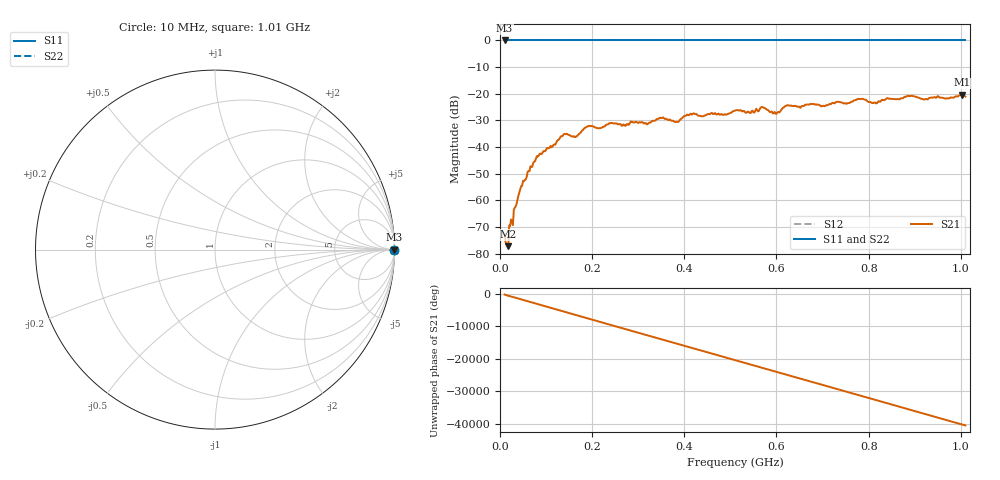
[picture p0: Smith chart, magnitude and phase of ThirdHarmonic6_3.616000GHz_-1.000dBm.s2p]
! 8/17/2025 12:05:37 PM
! C:\ANRITSUVNA\TEMP\TEMP.S2P
! CHANNEL.1
! TR.MEASUREMENT
! RAW.DATA
! RF.CORRECTION.OFF
! AVERAGING.OFF
! IF.BANDWIDTH: 5KHZ
! SWEEPTYPE:  FREQ.SWEEP(Linear)
! Reference Plane Port Info
! PORT:  PORT1  PORT2
! DISTANCE:  0  m  0  m
! TIME:  0  s  0  s
! PHASE.OFFSET:  0  deg.  0  deg.
! LOSS:  0  dB  0  dB
! REF.LOSS:  0  dB  0  dB
! REF.FREQ:  0  Hz  0  Hz
! Power Info
! POWER:  -20  dBm  -20  dBm
! EFF.POWER:  -20  dBm  -20  dBm
! SOURCE.ATTEN:  0  dB  0  dB
! TEST.ATTEN:  0  dB  0  dB
# GHZ S RI R 50.0
! FREQ.GHZ  S11RE  S11IM  S21RE  S21IM  S12RE  S12IM  S22RE  S22IM
!; PortSelection: Port_12
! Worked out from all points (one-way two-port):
!   501 points, 10 MHz to 1.01 GHz, reference 50 ohm
!   highest |S21| = -20.38 dB at 1.002 GHz (marker M1); lowest = -77.2 dB at 18 MHz (marker M2)
!   lowest |S11| = 0.0 dB at 10 MHz (marker M3)
!   |S11| at or under -10 dB: nowhere
!   |S22| runs from 0.0 to 0.0 dB; largest |S21 - S12| = 1.1
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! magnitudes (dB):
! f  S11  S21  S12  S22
! 10 MHz  0.0  -72.7  0.0  0.0
! 14 MHz  0.0  -76.4  0.0  0.0
! 18 MHz  0.0  -77.2  0.0  0.0
! 46 MHz  0.0  -54.6  0.0  0.0
! 76 MHz  0.0  -45.3  0.0  0.0
! 136 MHz  0.0  -35.8  0.0  0.0
! 164 MHz  0.0  -36.2  0.0  0.0
! 178 MHz  0.0  -33.8  0.0  0.0
! 194 MHz  0.0  -32.1  0.0  0.0
! 322 MHz  0.0  -31.0  0.0  0.0
! 344 MHz  0.0  -29.4  0.0  0.0
! 384 MHz  0.0  -30.5  0.0  0.0
! 416 MHz  0.0  -27.8  0.0  0.0
! 510 MHz  0.0  -26.3  0.0  0.0
! 570 MHz  0.0  -25.0  0.0  0.0
! 596 MHz  0.0  -26.8  0.0  0.0
! 622 MHz  0.0  -24.4  0.0  0.0
! 678 MHz  0.0  -23.9  0.0  0.0
! 814 MHz  0.0  -23.3  0.0  0.0
! 844 MHz  0.0  -21.8  0.0  0.0
! 1.002 GHz  0.0  -20.4  0.0  0.0
! 1.01 GHz  0.0  -21.0  0.0  0.0
